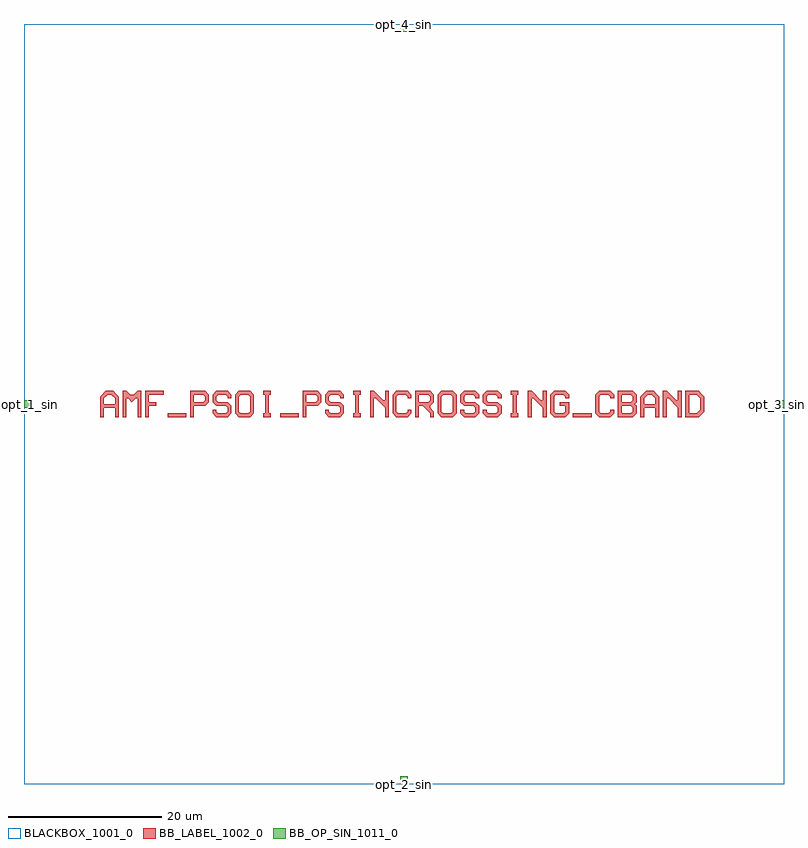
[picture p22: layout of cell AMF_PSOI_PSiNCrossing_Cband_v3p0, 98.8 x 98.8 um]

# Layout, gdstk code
import gdstk
lib = gdstk.Library(unit=1e-6, precision=1e-09)
def R(c, l, rs):  # rectangles x0, y0, x1, y1
    for r in rs: c.add(gdstk.rectangle(r[:2], r[2:], *l))
def P(c, l, *ps):  # polygons
    for p in ps: c.add(gdstk.Polygon(p, *l))
BLACKBOX_1001_0 = (1001, 0)
BB_LABEL_1002_0 = (1002, 0)
BB_OP_SIN_1011_0 = (1011, 0)

amf_psoi_psincrossing_cb = lib.new_cell('AMF_PSOI_PSiNCrossing_Cband_v3p0')
R(amf_psoi_psincrossing_cb, BLACKBOX_1001_0, [(0,-49.4,98.8,49.4)])
R(amf_psoi_psincrossing_cb, BB_LABEL_1002_0, [(18.661,-1.708,21.101,-1.22), (33.296,-1.708,35.736,-1.22), (71.347,-1.708,73.787,-1.22)])
P(amf_psoi_psincrossing_cb, BB_LABEL_1002_0, [(9.88,-1.708),(9.88,0.975),(10.612,1.707),(11.588,1.707),(12.076,1.219),(10.856,1.219),(10.368,0.732),(10.368,0),(11.832,0),(11.832,0.732),(11.344,1.219),(12.076,1.219),(12.32,0.975),(12.32,-1.708),(11.832,-1.708),(11.832,-0.488),(10.368,-0.488),(10.368,-1.708)],
  [(12.807,-1.708),(12.807,1.707),(13.295,1.707),(13.783,1.219),(14.271,1.219),(14.759,1.707),(15.247,1.707),(15.247,-1.708),(14.759,-1.708),(14.759,0.732),(14.515,0.732),(14.027,0.244),(13.539,0.732),(13.295,0.732),(13.295,-1.708)],
  [(15.734,-1.708),(15.734,1.707),(18.174,1.707),(18.174,1.219),(16.222,1.219),(16.222,0.244),(17.198,0.244),(17.198,-0.244),(16.222,-0.244),(16.222,-1.708)],
  [(21.588,-1.708),(21.588,1.707),(23.54,1.707),(24.028,1.219),(24.028,0.244),(23.54,-0.244),(22.076,-0.244),(22.076,0.244),(23.296,0.244),(23.54,0.488),(23.54,0.975),(23.296,1.219),(22.076,1.219),(22.076,-1.708)],
  [(25.003,-1.708),(24.515,-1.22),(24.515,-0.732),(25.003,-0.732),(25.003,-0.976),(25.247,-1.22),(26.223,-1.22),(26.467,-0.976),(26.467,-0.488),(26.223,-0.244),(25.003,-0.244),(24.515,0.244),(24.515,1.219),(25.003,1.707),(26.467,1.707),(26.955,1.219),(26.955,0.732),(26.467,0.732),(26.467,0.975),(26.223,1.219),(25.247,1.219),(25.003,0.975),(25.003,0.488),(25.247,0.244),(26.467,0.244),(26.955,-0.244),(26.955,-1.22),(26.467,-1.708)],
  [(27.93,-1.708),(27.442,-1.22),(27.442,1.219),(27.93,1.707),(29.394,1.707),(29.882,1.219),(29.882,0),(29.394,0),(29.394,0.975),(29.15,1.219),(28.174,1.219),(27.93,0.975),(27.93,-0.976),(28.174,-1.22),(29.15,-1.22),(29.394,-0.976),(29.394,0),(29.882,0),(29.882,-1.22),(29.394,-1.708)],
  [(31.101,-1.708),(31.101,-1.22),(31.345,-1.22),(31.345,1.219),(31.101,1.219),(31.101,1.707),(32.077,1.707),(32.077,1.219),(31.833,1.219),(31.833,-1.22),(32.077,-1.22),(32.077,-1.708)],
  [(36.223,-1.708),(36.223,1.707),(38.175,1.707),(38.663,1.219),(38.663,0.244),(38.175,-0.244),(36.711,-0.244),(36.711,0.244),(37.931,0.244),(38.175,0.488),(38.175,0.975),(37.931,1.219),(36.711,1.219),(36.711,-1.708)],
  [(39.638,-1.708),(39.15,-1.22),(39.15,-0.732),(39.638,-0.732),(39.638,-0.976),(39.882,-1.22),(40.858,-1.22),(41.102,-0.976),(41.102,-0.488),(40.858,-0.244),(39.638,-0.244),(39.15,0.244),(39.15,1.219),(39.638,1.707),(41.102,1.707),(41.59,1.219),(41.59,0.732),(41.102,0.732),(41.102,0.975),(40.858,1.219),(39.882,1.219),(39.638,0.975),(39.638,0.488),(39.882,0.244),(41.102,0.244),(41.59,-0.244),(41.59,-1.22),(41.102,-1.708)],
  [(42.809,-1.708),(42.809,-1.22),(43.053,-1.22),(43.053,1.219),(42.809,1.219),(42.809,1.707),(43.785,1.707),(43.785,1.219),(43.541,1.219),(43.541,-1.22),(43.785,-1.22),(43.785,-1.708)],
  [(45.004,-1.708),(45.004,1.707),(45.492,1.707),(46.712,0.488),(46.956,0.488),(46.956,1.707),(47.444,1.707),(47.444,-1.708),(46.956,-1.708),(46.956,-0.488),(45.736,0.732),(45.492,0.732),(45.492,-1.708)],
  [(48.419,-1.708),(47.931,-1.22),(47.931,1.219),(48.419,1.707),(49.883,1.707),(50.371,1.219),(50.371,0.732),(49.883,0.732),(49.883,0.975),(49.639,1.219),(48.663,1.219),(48.419,0.975),(48.419,-0.976),(48.663,-1.22),(49.639,-1.22),(49.883,-0.976),(49.883,-0.732),(50.371,-0.732),(50.371,-1.22),(49.883,-1.708)],
  [(50.858,-1.708),(50.858,1.707),(52.81,1.707),(53.298,1.219),(51.346,1.219),(51.346,0.244),(52.566,0.244),(52.81,0.488),(52.81,0.975),(52.566,1.219),(53.298,1.219),(53.298,0.244),(52.81,-0.244),(52.81,-0.488),(53.298,-0.976),(53.298,-1.708),(52.81,-1.708),(52.81,-1.22),(51.834,-0.244),(51.346,-0.244),(51.346,-1.708)],
  [(54.273,-1.708),(53.785,-1.22),(53.785,1.219),(54.273,1.707),(55.737,1.707),(56.225,1.219),(56.225,0),(55.737,0),(55.737,0.975),(55.493,1.219),(54.517,1.219),(54.273,0.975),(54.273,-0.976),(54.517,-1.22),(55.493,-1.22),(55.737,-0.976),(55.737,0),(56.225,0),(56.225,-1.22),(55.737,-1.708)],
  [(57.2,-1.708),(56.712,-1.22),(56.712,-0.732),(57.2,-0.732),(57.2,-0.976),(57.444,-1.22),(58.42,-1.22),(58.664,-0.976),(58.664,-0.488),(58.42,-0.244),(57.2,-0.244),(56.712,0.244),(56.712,1.219),(57.2,1.707),(58.664,1.707),(59.152,1.219),(59.152,0.732),(58.664,0.732),(58.664,0.975),(58.42,1.219),(57.444,1.219),(57.2,0.975),(57.2,0.488),(57.444,0.244),(58.664,0.244),(59.152,-0.244),(59.152,-1.22),(58.664,-1.708)],
  [(60.127,-1.708),(59.639,-1.22),(59.639,-0.732),(60.127,-0.732),(60.127,-0.976),(60.371,-1.22),(61.347,-1.22),(61.591,-0.976),(61.591,-0.488),(61.347,-0.244),(60.127,-0.244),(59.639,0.244),(59.639,1.219),(60.127,1.707),(61.591,1.707),(62.079,1.219),(62.079,0.732),(61.591,0.732),(61.591,0.975),(61.347,1.219),(60.371,1.219),(60.127,0.975),(60.127,0.488),(60.371,0.244),(61.591,0.244),(62.079,-0.244),(62.079,-1.22),(61.591,-1.708)],
  [(63.298,-1.708),(63.298,-1.22),(63.542,-1.22),(63.542,1.219),(63.298,1.219),(63.298,1.707),(64.274,1.707),(64.274,1.219),(64.03,1.219),(64.03,-1.22),(64.274,-1.22),(64.274,-1.708)],
  [(65.493,-1.708),(65.493,1.707),(65.981,1.707),(67.201,0.488),(67.445,0.488),(67.445,1.707),(67.933,1.707),(67.933,-1.708),(67.445,-1.708),(67.445,-0.488),(66.225,0.732),(65.981,0.732),(65.981,-1.708)],
  [(68.908,-1.708),(68.42,-1.22),(68.42,1.219),(68.908,1.707),(70.372,1.707),(70.86,1.219),(70.86,0.732),(70.372,0.732),(70.372,0.975),(70.128,1.219),(69.152,1.219),(68.908,0.975),(68.908,-0.976),(69.152,-1.22),(70.128,-1.22),(70.372,-0.976),(70.372,-0.244),(69.64,-0.244),(69.64,0.244),(70.86,0.244),(70.86,-1.22),(70.372,-1.708)],
  [(74.762,-1.708),(74.274,-1.22),(74.274,1.219),(74.762,1.707),(76.226,1.707),(76.714,1.219),(76.714,0.732),(76.226,0.732),(76.226,0.975),(75.982,1.219),(75.006,1.219),(74.762,0.975),(74.762,-0.976),(75.006,-1.22),(75.982,-1.22),(76.226,-0.976),(76.226,-0.732),(76.714,-0.732),(76.714,-1.22),(76.226,-1.708)],
  [(77.201,-1.708),(77.201,1.707),(79.153,1.707),(79.641,1.219),(77.689,1.219),(77.689,0.244),(78.909,0.244),(79.153,0.488),(79.153,0.975),(78.909,1.219),(79.641,1.219),(79.641,0.244),(79.397,0),(79.641,-0.244),(77.689,-0.244),(77.689,-1.22),(78.909,-1.22),(79.153,-0.976),(79.153,-0.488),(78.909,-0.244),(79.641,-0.244),(79.641,-1.22),(79.153,-1.708)],
  [(80.128,-1.708),(80.128,0.975),(80.86,1.707),(81.836,1.707),(82.324,1.219),(81.104,1.219),(80.616,0.732),(80.616,0),(82.08,0),(82.08,0.732),(81.592,1.219),(82.324,1.219),(82.568,0.975),(82.568,-1.708),(82.08,-1.708),(82.08,-0.488),(80.616,-0.488),(80.616,-1.708)],
  [(83.055,-1.708),(83.055,1.707),(83.543,1.707),(84.763,0.488),(85.007,0.488),(85.007,1.707),(85.495,1.707),(85.495,-1.708),(85.007,-1.708),(85.007,-0.488),(83.787,0.732),(83.543,0.732),(83.543,-1.708)],
  [(85.982,-1.708),(85.982,1.707),(87.69,1.707),(88.178,1.219),(86.47,1.219),(86.47,-1.22),(87.446,-1.22),(87.934,-0.732),(87.934,0.732),(87.446,1.219),(88.178,1.219),(88.422,0.975),(88.422,-0.976),(87.69,-1.708)])
R(amf_psoi_psincrossing_cb, BB_OP_SIN_1011_0, [(48.9,-49.4,49.9,-48.4), (0,-0.5,1,0.5), (97.8,-0.5,98.8,0.5), (48.9,48.4,49.9,49.4)])
amf_psoi_psincrossing_cb.add(gdstk.Label('opt_3_sin', (98.8,0), layer=1011, texttype=0))
amf_psoi_psincrossing_cb.add(gdstk.Label('opt_4_sin', (49.4,49.4), layer=1011, texttype=0))
amf_psoi_psincrossing_cb.add(gdstk.Label('opt_2_sin', (49.4,-49.4), layer=1011, texttype=0))
amf_psoi_psincrossing_cb.add(gdstk.Label('opt_1_sin', (0,0), layer=1011, texttype=0))

lib.write_gds('AMF_PSOI_PSiNCrossing_Cband_v3p0.gds')
